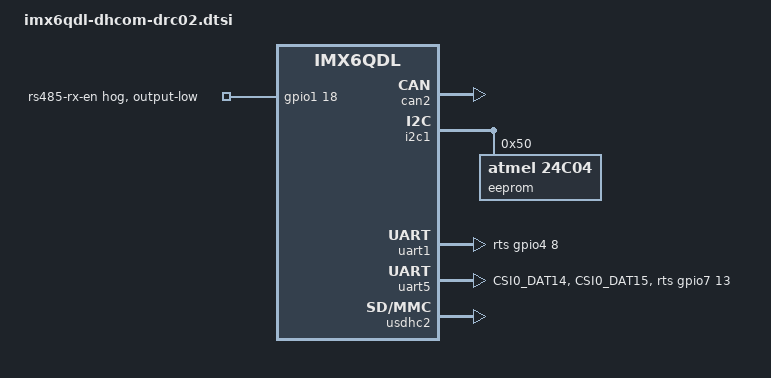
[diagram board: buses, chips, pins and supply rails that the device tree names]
// SPDX-License-Identifier: GPL-2.0+
/*
 * Copyright (C) 2021 DH electronics GmbH
 */

/ {
	chosen {
		stdout-path = "serial0:115200n8";
	};
};

/*
 * Special SoM hardware required which uses the pins from micro SD card. The
 * pins SD3_DAT0 and SD3_DAT1 are muxed as can2 Tx and Rx. The signals for can2
 * Tx and Rx are routed to the DHCOM UART1 rts/cts pins. Therefore the micro SD
 * card must be disabled and the uart1 rts/cts must be output on other DHCOM
 * pins, see uart1 and usdhc3 node below.
 */
&can2 {
	status = "okay";
};

&gpio1 {
	/*
	 * NOTE: On DRC02, the RS485_RX_En is controlled by a separate
	 * GPIO line, however the i.MX6 UART driver assumes RX happens
	 * during TX anyway and that it only controls drive enable DE
	 * line. Hence, the RX is always enabled here.
	 */
	rs485-rx-en-hog {
		gpio-hog;
		gpios = <18 0>; /* GPIO Q */
		line-name = "rs485-rx-en";
		output-low;
	};
};

&gpio3 {
	gpio-line-names =
		"", "", "", "", "", "", "", "",
		"", "", "", "", "", "", "", "",
		"", "", "", "", "", "", "", "",
		"", "", "", "DRC02-In1", "", "", "", "";
};

&gpio4 {
	gpio-line-names =
		"", "", "", "", "", "DHCOM-E", "DRC02-In2", "DHCOM-H",
		"DHCOM-I", "DRC02-HW0", "", "", "", "", "", "",
		"", "", "", "", "DRC02-Out1", "", "", "",
		"", "", "", "", "", "", "", "";
};

&gpio6 {
	gpio-line-names =
		"", "", "", "DRC02-Out2", "", "", "SOM-HW1", "",
		"", "", "", "", "", "", "DRC02-HW2", "DRC02-HW1",
		"", "", "", "", "", "", "", "",
		"", "", "", "", "", "", "", "";
};

&i2c1 {
	eeprom@50 {
		compatible = "atmel,24c04";
		reg = <0x50>;
		pagesize = <16>;
	};
};

&uart1 {
	/*
	 * Due to the use of can2 the signals for can2 Tx and Rx are routed to
	 * DHCOM UART1 rts/cts pins. Therefore this UART have to use DHCOM GPIOs
	 * for rts/cts. So configure DHCOM GPIO I as rts and GPIO M as cts.
	 */
	/delete-property/ uart-has-rtscts;
	cts-gpios = <&gpio7 0 GPIO_ACTIVE_HIGH>; /* GPIO M */
	pinctrl-0 = <&pinctrl_uart1 &pinctrl_dhcom_i &pinctrl_dhcom_m>;
	pinctrl-names = "default";
	rts-gpios = <&gpio4 8 GPIO_ACTIVE_HIGH>; /* GPIO I */
};

&uart5 {
	/*
	 * On DRC02 this UART is used as RS485 interface and RS485_TX_En is
	 * controlled by DHCOM GPIO P. So remove rts/cts pins and the property
	 * uart-has-rtscts from this UART and add the DHCOM GPIO P pin via
	 * rts-gpios. The RS485_RX_En is controlled by DHCOM GPIO Q, see gpio1
	 * node above.
	 */
	/delete-property/ uart-has-rtscts;
	linux,rs485-enabled-at-boot-time;
	pinctrl-0 = <&pinctrl_uart5_core &pinctrl_dhcom_p &pinctrl_dhcom_q>;
	pinctrl-names = "default";
	rts-gpios = <&gpio7 13 GPIO_ACTIVE_HIGH>; /* GPIO P */
};

&usbh1 {
	disable-over-current;
};

&usdhc2 { /* SD card */
	status = "okay";
};

&usdhc3 {
	/*
	 * Due to the use of can2 the micro SD card on module have to be
	 * disabled, because the pins SD3_DAT0 and SD3_DAT1 are muxed as
	 * can2 Tx and Rx.
	 */
	status = "disabled";
};

&iomuxc {
	pinctrl-0 = <
			/*
			 * The following DHCOM GPIOs are used on this board.
			 * Therefore, they have been removed from the list below.
			 * I: uart1 rts
			 * M: uart1 cts
			 * P: uart5 rs485-tx-en
			 * Q: uart5 rs485-rx-en
			 */
			&pinctrl_hog_base
			&pinctrl_dhcom_a &pinctrl_dhcom_b &pinctrl_dhcom_c
			&pinctrl_dhcom_d &pinctrl_dhcom_e &pinctrl_dhcom_f
			&pinctrl_dhcom_g &pinctrl_dhcom_h
			&pinctrl_dhcom_j &pinctrl_dhcom_k &pinctrl_dhcom_l
			&pinctrl_dhcom_n &pinctrl_dhcom_o
			&pinctrl_dhcom_r
			&pinctrl_dhcom_s &pinctrl_dhcom_t &pinctrl_dhcom_u
			&pinctrl_dhcom_v &pinctrl_dhcom_w &pinctrl_dhcom_int
		>;
	pinctrl-names = "default";

	pinctrl_uart5_core: uart5-core-grp {
		fsl,pins = <
			MX6QDL_PAD_CSI0_DAT14__UART5_TX_DATA	0x1b0b1
			MX6QDL_PAD_CSI0_DAT15__UART5_RX_DATA	0x1b0b1
		>;
	};
};
